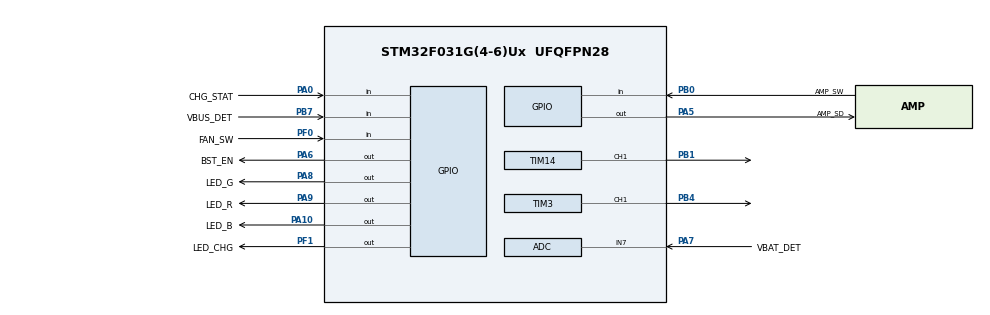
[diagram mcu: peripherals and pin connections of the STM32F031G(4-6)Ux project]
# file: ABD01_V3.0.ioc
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ADC.ClockPrescaler=ADC_CLOCK_SYNC_PCLK_DIV4
Mcu.Family=STM32F0
Mcu.Name=STM32F031G(4-6)Ux
Mcu.Package=UFQFPN28
PA0.GPIO_Label=CHG_STAT
PA0.GPIO_PuPd=GPIO_PULLUP
PA0.Signal=GPIO_Input
PA10.GPIO_Label=LED_B
PA10.Signal=GPIO_Output
PA13.Mode=Serial_Wire
PA13.Signal=SYS_SWDIO
PA14.Mode=Serial_Wire
PA14.Signal=SYS_SWCLK
PA5.GPIO_Label=AMP_SD
PA5.GPIO_PuPd=GPIO_NOPULL
PA5.PinState=GPIO_PIN_SET
PA5.Signal=GPIO_Output
PA6.GPIO_Label=BST_EN
PA6.Signal=GPIO_Output
PA7.GPIO_Label=VBAT_DET
PA7.Mode=IN7
PA7.Signal=ADC_IN7
PA8.GPIO_Label=LED_G
PA8.Signal=GPIO_Output
PA9.GPIO_Label=LED_R
PA9.Signal=GPIO_Output
PB0.GPIO_Label=AMP_SW
PB0.GPIO_PuPd=GPIO_PULLUP
PB0.Signal=GPIO_Input
PB1.Signal=S_TIM14_CH1
PB4.Signal=S_TIM3_CH1
PB7.GPIO_Label=VBUS_DET
PB7.Signal=GPIO_Input
PF0-OSC_IN.GPIO_Label=FAN_SW
PF0-OSC_IN.Signal=GPIO_Input
PF1-OSC_OUT.GPIO_Label=LED_CHG
PF1-OSC_OUT.Signal=GPIO_Output
ProjectManager.HeapSize=0x200
ProjectManager.StackSize=0x400
ProjectManager.TargetToolchain=STM32CubeIDE
RCC.AHBFreq_Value=8000000
RCC.APB1Freq_Value=8000000
RCC.APB1TimFreq_Value=8000000
RCC.HCLKFreq_Value=8000000
SH.S_TIM14_CH1.0=TIM14_CH1,PWM Generation1 CH1
SH.S_TIM3_CH1.0=TIM3_CH1,PWM Generation1 CH1
TIM14.Channel=TIM_CHANNEL_1
TIM14.Period=99
TIM14.Prescaler=3
TIM3.Channel-PWM\ Generation1\ CH1=TIM_CHANNEL_1
TIM3.Period=251
TIM3.Prescaler=9
TIM3.Pulse-PWM\ Generation1\ CH1=125
VP_TIM14_VS_ClockSourceINT.Mode=Enable_Timer
VP_TIM3_VS_ClockSourceINT.Mode=Internal
board=custom

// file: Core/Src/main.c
/* USER CODE BEGIN Header */

/* USER CODE END Header */
#include "main.h"

/* USER CODE BEGIN Includes */
#include <stdbool.h>
/* USER CODE END Includes */

/* USER CODE BEGIN PD */
typedef enum eLedStatus
{
    led_off = GPIO_PIN_SET,
    led_on = GPIO_PIN_RESET
} eLedStatus_t;
typedef enum eLedColor
{
    color_none = 0,      // LED All OFF
    color_red,      // LED Color Red
    color_green,    // LED Color Green
    color_blue,     // LED Color Blue
    color_yellow,   // LED Color Yellow
    color_magenta,  // LED Color Magenta
    color_cyan,     // LED Color Cyan
    color_white     // LED Color White
} eLedColor_t;

typedef enum eBuzMode
{
    buzz_off,
    buzz_on,
    buzz_long,
    buzz_short
} eBuzMode_t;

#define low_vol     2048
#define ampOn  GPIO_PIN_SET
#define ampOff GPIO_PIN_RESET
/* USER CODE END PD */

ADC_HandleTypeDef hadc;

TIM_HandleTypeDef htim3;
TIM_HandleTypeDef htim14;

/* USER CODE BEGIN PV */
uint8_t ampModeCount = 0;
uint8_t voltIn = 0;
uint8_t chgStat = 1;

/* USER CODE END PV */

void SystemClock_Config(void);
static void MX_GPIO_Init(void);
static void MX_TIM3_Init(void);
static void MX_TIM14_Init(void);
static void MX_ADC_Init(void);
/* USER CODE BEGIN PFP */
void pwmDutySet(const int duty);
void buzzerControl(const eBuzMode_t mdoe, const int count);
uint32_t adcRead(void);
void ledColor(eLedColor_t ledColor);
void ledControl(eLedStatus_t led_r, eLedStatus_t led_g, eLedStatus_t led_b);
void boostEnable(GPIO_PinState bstStatus);

void deviceInit(void);
void readSwitchStatus(int	* const status_count,
                      bool	* const mode_change,
                      int	* const befor_mode);
void ampControl(const int status);
void chargeDetect(void);
void fanControl(int     * const status,
                bool	* const mode_status,
                bool	bat_status);

/* USER CODE END PFP */

/* USER CODE BEGIN 0 */

/* Driver *****************************************************************************/
// PWM Duty Set
void pwmDutySet(const int duty)
{
    if((duty >= 0) && (duty <= 100))
    {
        if((duty == 0) || (duty == 100))
        {
            TIM14->CCR1 = ((100 / 100) * duty);
        }
        else
        {
            TIM14->CCR1 = ((100 / 100) * duty) - 1;
        }
    }
    else
    {
        TIM14->CCR1 = 0;
    }
}

// Buzzer Control
void buzzerControl(const eBuzMode_t mode, const int count)
{
    switch(mode)
    {
        case buzz_off: TIM3->CCR1 = 0; break;
        case buzz_on: TIM3->CCR1 = 125; break;
        case buzz_long:
            for(int idx = 0; idx < count; idx++)
            {
                TIM3->CCR1 = 125;
                HAL_Delay(1500);
                TIM3->CCR1 = 0;
                HAL_Delay(10);
            }

            break;
        case buzz_short:
            for(int idx = 0; idx < count; idx++)
            {
                TIM3->CCR1 = 125;
                HAL_Delay(300);
                TIM3->CCR1 = 0;
                HAL_Delay(100);
            }
            break;
        default: TIM3->CCR1 = 0; break;
    }
}

// ADC Read
uint32_t adcRead(void)
{
    uint32_t value;

    HAL_ADC_Start(&hadc);
    HAL_ADC_PollForConversion(&hadc, HAL_MAX_DELAY);
    HAL_Delay(100);
    value = HAL_ADC_GetValue(&hadc);

    return value;
}

// LED Color Set
void ledColor(eLedColor_t ledColor)
{
    switch(ledColor)
    {
        case color_none:
            ledControl(led_off, led_off, led_off); break;
        case color_red:
            ledControl(led_on, led_off, led_off); break;
        case color_green:
            ledControl(led_off, led_on, led_off); break;
        case color_blue:
            ledControl(led_off, led_off, led_on); break;
        case color_yellow:
            ledControl(led_on, led_on, led_off); break;
        case color_magenta:
            ledControl(led_on, led_off, led_on); break;
        case color_cyan:
            ledControl(led_off, led_on, led_on); break;
        case color_white:
            ledControl(led_on, led_on, led_on); break;
        default:
            ledControl(led_off, led_off, led_off); break;
    }
}

// LED Control
void ledControl(eLedStatus_t led_r, eLedStatus_t led_g, eLedStatus_t led_b)
{
    HAL_GPIO_WritePin(LED_R_GPIO_Port, LED_R_Pin, led_r);
    HAL_GPIO_WritePin(LED_G_GPIO_Port, LED_G_Pin, led_g);
    HAL_GPIO_WritePin(LED_B_GPIO_Port, LED_B_Pin, led_b);
}

void boostEnable(GPIO_PinState bstStatus)
{
    HAL_GPIO_WritePin(BST_EN_GPIO_Port, BST_EN_Pin, bstStatus);
}
/**************************************************************************************/

/* Application ************************************************************************/
// LED ROTATE 100ms
void deviceInit(void)
{
    // GPIO ALL OFF
    HAL_GPIO_WritePin(AMP_SD_GPIO_Port, AMP_SD_Pin, GPIO_PIN_RESET); //AMP OFF
    HAL_GPIO_WritePin(BST_EN_GPIO_Port, BST_EN_Pin, GPIO_PIN_RESET); // BOOSTER OFF
    HAL_GPIO_WritePin(LED_CHG_GPIO_Port, LED_CHG_Pin, GPIO_PIN_RESET); // CHG LED OFF

    // PWM START
    HAL_TIM_PWM_Start(&htim3,TIM_CHANNEL_1);    // Buzzer PWM
    HAL_TIM_PWM_Start(&htim14, TIM_CHANNEL_1);	// FAN PWM

    // PWM Init
    pwmDutySet(0);
    buzzerControl(buzz_off, 0);

    // ADC START
    HAL_ADC_Start(&hadc);
    HAL_ADC_PollForConversion(&hadc, 10);

    // LED Initial
    // RED
    ledColor(color_red);
    HAL_Delay(250);
    // GRN
    ledColor(color_green);
    HAL_Delay(250);
    // BLU
    ledColor(color_blue);
    HAL_Delay(250);
    // YEL
    ledColor(color_yellow);
    HAL_Delay(250);
    // MAGENTA
    ledColor(color_magenta);
    HAL_Delay(250);
    // CYAN
    ledColor(color_cyan);
    HAL_Delay(250);
    // WHT
    ledColor(color_white);
    HAL_Delay(250);
    // LED ALL OFF
    ledColor(color_none);
}

void readSwitchStatus(int	* const status_count,
                      bool	* const mode_change,
                      int	* const befor_mode)
{
    int time_count = 0;

    // Status Count doc
    // status_count = 0 : System Standby Mode   (FAN OFF, )
    // status_count = 1 : System Active Mode    (FAN 0%, )
    // sratus_count = 2 : System Active Mode    (FAN 65%, )
    // sratus_count = 3 : System Active Mode    (FAN 80%, )
    // sratus_count = 4 : System Active Mode    (FAN 100%, )

    // Switch Detect
    if(HAL_GPIO_ReadPin(FAN_SW_GPIO_Port, FAN_SW_Pin) == 0)
    {
        // Switch Detect Time Count
        while(HAL_GPIO_ReadPin(FAN_SW_GPIO_Port, FAN_SW_Pin) == 0)
        {
            time_count++;
            HAL_Delay(100);
        }
    }

    // Switch Detect Time Check
    // System Mode Cheange Detect
    if(time_count >= 15)
    {
        // if System StandBy Status
        if(*status_count == 0)
        {
            *status_count = 1; // Mode Change
        }
            // System Active Status
        else
        {
            *status_count = 0; // Mode Change
        }
    }
        // System Status Cheange Detect
    else if((time_count < 20) && (time_count > 0) && (*status_count > 0))
    {
        if(*status_count >= 4)
        {
            *status_count = 2;
        }
        else
        {
            *status_count+=1;
        }
    }
        // Nothing
    else
    {
        /* none */
    }

    if(*befor_mode != *status_count)
    {
        *mode_change = true;
        *befor_mode = *status_count;
    }
}

// FAN Control
void fanControl(int     * const status,
                bool	* const mode_status,
                bool	bat_status)
{
    switch (*status)
    {
        case 0: // Device Off
            if(bat_status == true) ledColor(color_none);
            boostEnable(GPIO_PIN_RESET);
            HAL_GPIO_WritePin(AMP_SD_GPIO_Port, AMP_SD_Pin, GPIO_PIN_RESET);
            pwmDutySet(0);
            if(*mode_status == true)
            {
                buzzerControl(buzz_long, 1);
                *mode_status = false;
            }
            break;
        case 1: // Device Start
            if(bat_status == true) ledColor(color_green);
            if(*mode_status == true)
            {
                buzzerControl(buzz_long, 1);
                *mode_status = false;
            }
            *status+=1;
            break;
        case 2: // PWM 30%
            if(bat_status == true) ledColor(color_green);
            boostEnable(GPIO_PIN_SET);
            HAL_GPIO_WritePin(AMP_SD_GPIO_Port, AMP_SD_Pin, GPIO_PIN_SET);
            pwmDutySet(10);
//            pwmDutySet(45);
            if(*mode_status == true)
            {
                buzzerControl(buzz_short, 1);
                *mode_status = false;
            }
            break;
        case 3: // PWM 50%
            if(bat_status == true) ledColor(color_green);
            boostEnable(GPIO_PIN_SET);
            HAL_GPIO_WritePin(AMP_SD_GPIO_Port, AMP_SD_Pin, GPIO_PIN_SET);
            pwmDutySet(20);
//            pwmDutySet(65);
            if(*mode_status == true)
            {
                buzzerControl(buzz_short, 2);
                *mode_status = false;
            }
            break;
        case 4: // PWM 80%
            if(bat_status == true) ledColor(color_green);
            boostEnable(GPIO_PIN_SET);
            HAL_GPIO_WritePin(AMP_SD_GPIO_Port, AMP_SD_Pin, GPIO_PIN_SET);
            pwmDutySet(30);
//            pwmDutySet(85);
            if(*mode_status == true)
            {
                buzzerControl(buzz_short, 3);
                *mode_status = false;
            }
            break;
    }
}

// Amp Control
void ampControl(const int status)
{
    if ((status == 0) || (status == 1))
    {
        HAL_GPIO_WritePin(AMP_SD_GPIO_Port, AMP_SD_Pin, ampOff);
        ampModeCount = 0;
    }
    else if (status > 1)
    {
        if (HAL_GPIO_ReadPin(AMP_SW_GPIO_Port, AMP_SW_Pin) == 0)
        {
            while (HAL_GPIO_ReadPin(AMP_SW_GPIO_Port, AMP_SW_Pin) == 0);
            ampModeCount++;
            if (ampModeCount >= 2) ampModeCount = 0;
        }

        switch (ampModeCount)
        {
            case 0:
                HAL_GPIO_WritePin(AMP_SD_GPIO_Port, AMP_SD_Pin, ampOff);
                break;

            case 1:
                HAL_GPIO_WritePin(AMP_SD_GPIO_Port, AMP_SD_Pin, ampOn);
                break;
        }
    }
    else
    {
        HAL_GPIO_WritePin(AMP_SD_GPIO_Port, AMP_SD_Pin, ampOff);
        ampModeCount = 0;
    }
}

// Charge Detect
void chargeDetect(void)
{
    voltIn = HAL_GPIO_ReadPin(VBUS_DET_GPIO_Port, VBUS_DET_Pin);
    chgStat = HAL_GPIO_ReadPin(CHG_STAT_GPIO_Port, CHG_STAT_Pin);

    if(voltIn == 1)
    {
        if (chgStat == 0)
        {
            HAL_GPIO_WritePin(LED_CHG_GPIO_Port, LED_CHG_Pin, GPIO_PIN_SET);
        } else
        {
            HAL_GPIO_WritePin(LED_CHG_GPIO_Port, LED_CHG_Pin, GPIO_PIN_RESET);
        }
    }
    else
    {
        HAL_GPIO_WritePin(LED_CHG_GPIO_Port,LED_CHG_Pin,GPIO_PIN_RESET);
    }
}
/**************************************************************************************/

/* USER CODE END 0 */

int main(void)
{
    /* USER CODE BEGIN 1 */

    int system_status = 0; // System Status Variable
    bool mode_status = false;
    int befor_mode = 0;
    int adc_read_count = 0;
    bool bat_status = true; // true: normal, false: low Bat
    /* USER CODE END 1 */

    /* MCU Configuration--------------------------------------------------------*/

    /* Reset of all peripherals, Initializes the Flash interface and the Systick. */
    HAL_Init();

    /* Configure the system clock */
    SystemClock_Config();

    /* Initialize all configured peripherals */
    MX_GPIO_Init();
    MX_TIM3_Init();
    MX_TIM14_Init();
    MX_ADC_Init();
    /* USER CODE BEGIN 2 */

    deviceInit(); // Device Initial
    HAL_Delay(50);

    /* USER CODE END 2 */

    /* Infinite loop */
    while (1)
    {

        /* USER CODE BEGIN 3 */
        chargeDetect();
        adc_read_count++;
        if(adc_read_count >= 5000)
        {
            if(adcRead() < low_vol)
            {
                bat_status = false;
                ledColor(color_magenta);
            }
            else bat_status = true;
            adc_read_count = 0;
        }
        readSwitchStatus(&system_status,
                         &mode_status,
                         &befor_mode);
        fanControl(&system_status, &mode_status, bat_status);
        ampControl(&system_status);
        boostEnable(GPIO_PIN_SET);
        HAL_Delay(1);
    }

    /* USER CODE END 3 */
}

void SystemClock_Config(void)
{
    RCC_OscInitTypeDef RCC_OscInitStruct = {0};
    RCC_ClkInitTypeDef RCC_ClkInitStruct = {0};

    /** Initializes the RCC Oscillators according to the specified parameters
    * in the RCC_OscInitTypeDef structure.
    */
    RCC_OscInitStruct.OscillatorType = RCC_OSCILLATORTYPE_HSI;
    RCC_OscInitStruct.HSIState = RCC_HSI_ON;
    RCC_OscInitStruct.HSICalibrationValue = RCC_HSICALIBRATION_DEFAULT;
    RCC_OscInitStruct.PLL.PLLState = RCC_PLL_NONE;
    if (HAL_RCC_OscConfig(&RCC_OscInitStruct) != HAL_OK)
    {
        Error_Handler();
    }

    /** Initializes the CPU, AHB and APB buses clocks
    */
    RCC_ClkInitStruct.ClockType = RCC_CLOCKTYPE_HCLK|RCC_CLOCKTYPE_SYSCLK
                                  |RCC_CLOCKTYPE_PCLK1;
    RCC_ClkInitStruct.SYSCLKSource = RCC_SYSCLKSOURCE_HSI;
    RCC_ClkInitStruct.AHBCLKDivider = RCC_SYSCLK_DIV1;
    RCC_ClkInitStruct.APB1CLKDivider = RCC_HCLK_DIV1;

    if (HAL_RCC_ClockConfig(&RCC_ClkInitStruct, FLASH_LATENCY_0) != HAL_OK)
    {
        Error_Handler();
    }
}

static void MX_ADC_Init(void)
{

    ADC_ChannelConfTypeDef sConfig = {0};

    /** Configure the global features of the ADC (Clock, Resolution, Data Alignment and number of conversion)
    */
    hadc.Instance = ADC1;
    hadc.Init.ClockPrescaler = ADC_CLOCK_SYNC_PCLK_DIV4;
    hadc.Init.Resolution = ADC_RESOLUTION_12B;
    hadc.Init.DataAlign = ADC_DATAALIGN_RIGHT;
    hadc.Init.ScanConvMode = ADC_SCAN_DIRECTION_FORWARD;
    hadc.Init.EOCSelection = ADC_EOC_SINGLE_CONV;
    hadc.Init.LowPowerAutoWait = DISABLE;
    hadc.Init.LowPowerAutoPowerOff = DISABLE;
    hadc.Init.ContinuousConvMode = DISABLE;
    hadc.Init.DiscontinuousConvMode = DISABLE;
    hadc.Init.ExternalTrigConv = ADC_SOFTWARE_START;
    hadc.Init.ExternalTrigConvEdge = ADC_EXTERNALTRIGCONVEDGE_NONE;
    hadc.Init.DMAContinuousRequests = DISABLE;
    hadc.Init.Overrun = ADC_OVR_DATA_PRESERVED;
    if (HAL_ADC_Init(&hadc) != HAL_OK)
    {
        Error_Handler();
    }

    /** Configure for the selected ADC regular channel to be converted.
    */
    sConfig.Channel = ADC_CHANNEL_7;
    sConfig.Rank = ADC_RANK_CHANNEL_NUMBER;
    sConfig.SamplingTime = ADC_SAMPLETIME_1CYCLE_5;
    if (HAL_ADC_ConfigChannel(&hadc, &sConfig) != HAL_OK)
    {
        Error_Handler();
    }

}

static void MX_TIM3_Init(void)
{

    TIM_ClockConfigTypeDef sClockSourceConfig = {0};
    TIM_MasterConfigTypeDef sMasterConfig = {0};
    TIM_OC_InitTypeDef sConfigOC = {0};

    htim3.Instance = TIM3;
    htim3.Init.Prescaler = 9;
    htim3.Init.CounterMode = TIM_COUNTERMODE_UP;
    htim3.Init.Period = 251;
    htim3.Init.ClockDivision = TIM_CLOCKDIVISION_DIV1;
    htim3.Init.AutoReloadPreload = TIM_AUTORELOAD_PRELOAD_DISABLE;
    if (HAL_TIM_Base_Init(&htim3) != HAL_OK)
    {
        Error_Handler();
    }
    sClockSourceConfig.ClockSource = TIM_CLOCKSOURCE_INTERNAL;
    if (HAL_TIM_ConfigClockSource(&htim3, &sClockSourceConfig) != HAL_OK)
    {
        Error_Handler();
    }
    if (HAL_TIM_PWM_Init(&htim3) != HAL_OK)
    {
        Error_Handler();
    }
    sMasterConfig.MasterOutputTrigger = TIM_TRGO_RESET;
    sMasterConfig.MasterSlaveMode = TIM_MASTERSLAVEMODE_DISABLE;
    if (HAL_TIMEx_MasterConfigSynchronization(&htim3, &sMasterConfig) != HAL_OK)
    {
        Error_Handler();
    }
    sConfigOC.OCMode = TIM_OCMODE_PWM1;
    sConfigOC.Pulse = 125;
    sConfigOC.OCPolarity = TIM_OCPOLARITY_HIGH;
    sConfigOC.OCFastMode = TIM_OCFAST_DISABLE;
    if (HAL_TIM_PWM_ConfigChannel(&htim3, &sConfigOC, TIM_CHANNEL_1) != HAL_OK)
    {
        Error_Handler();
    }
    HAL_TIM_MspPostInit(&htim3);

}

static void MX_TIM14_Init(void)
{

    TIM_OC_InitTypeDef sConfigOC = {0};

    htim14.Instance = TIM14;
    htim14.Init.Prescaler = 3;
    htim14.Init.CounterMode = TIM_COUNTERMODE_UP;
    htim14.Init.Period = 99;
    htim14.Init.ClockDivision = TIM_CLOCKDIVISION_DIV1;
    htim14.Init.AutoReloadPreload = TIM_AUTORELOAD_PRELOAD_DISABLE;
    if (HAL_TIM_Base_Init(&htim14) != HAL_OK)
    {
        Error_Handler();
    }
    if (HAL_TIM_PWM_Init(&htim14) != HAL_OK)
    {
        Error_Handler();
    }
    sConfigOC.OCMode = TIM_OCMODE_PWM1;
    sConfigOC.Pulse = 0;
    sConfigOC.OCPolarity = TIM_OCPOLARITY_HIGH;
    sConfigOC.OCFastMode = TIM_OCFAST_DISABLE;
    if (HAL_TIM_PWM_ConfigChannel(&htim14, &sConfigOC, TIM_CHANNEL_1) != HAL_OK)
    {
        Error_Handler();
    }
    HAL_TIM_MspPostInit(&htim14);

}

static void MX_GPIO_Init(void)
{
    GPIO_InitTypeDef GPIO_InitStruct = {0};

    /* GPIO Ports Clock Enable */
    __HAL_RCC_GPIOF_CLK_ENABLE();
    __HAL_RCC_GPIOA_CLK_ENABLE();
    __HAL_RCC_GPIOB_CLK_ENABLE();

    /*Configure GPIO pin Output Level */
    HAL_GPIO_WritePin(LED_CHG_GPIO_Port, LED_CHG_Pin, GPIO_PIN_RESET);

    /*Configure GPIO pin Output Level */
    HAL_GPIO_WritePin(AMP_SD_GPIO_Port, AMP_SD_Pin, GPIO_PIN_SET);

    /*Configure GPIO pin Output Level */
    HAL_GPIO_WritePin(GPIOA, BST_EN_Pin|LED_G_Pin|LED_R_Pin|LED_B_Pin, GPIO_PIN_RESET);

    /*Configure GPIO pin : FAN_SW_Pin */
    GPIO_InitStruct.Pin = FAN_SW_Pin;
    GPIO_InitStruct.Mode = GPIO_MODE_INPUT;
    GPIO_InitStruct.Pull = GPIO_NOPULL;
    HAL_GPIO_Init(FAN_SW_GPIO_Port, &GPIO_InitStruct);

    /*Configure GPIO pin : LED_CHG_Pin */
    GPIO_InitStruct.Pin = LED_CHG_Pin;
    GPIO_InitStruct.Mode = GPIO_MODE_OUTPUT_PP;
    GPIO_InitStruct.Pull = GPIO_NOPULL;
    GPIO_InitStruct.Speed = GPIO_SPEED_FREQ_LOW;
    HAL_GPIO_Init(LED_CHG_GPIO_Port, &GPIO_InitStruct);

    /*Configure GPIO pin : CHG_STAT_Pin */
    GPIO_InitStruct.Pin = CHG_STAT_Pin;
    GPIO_InitStruct.Mode = GPIO_MODE_INPUT;
    GPIO_InitStruct.Pull = GPIO_PULLUP;
    HAL_GPIO_Init(CHG_STAT_GPIO_Port, &GPIO_InitStruct);

    /*Configure GPIO pins : AMP_SD_Pin BST_EN_Pin LED_G_Pin LED_R_Pin
                             LED_B_Pin */
    GPIO_InitStruct.Pin = AMP_SD_Pin|BST_EN_Pin|LED_G_Pin|LED_R_Pin
                          |LED_B_Pin;
    GPIO_InitStruct.Mode = GPIO_MODE_OUTPUT_PP;
    GPIO_InitStruct.Pull = GPIO_NOPULL;
    GPIO_InitStruct.Speed = GPIO_SPEED_FREQ_LOW;
    HAL_GPIO_Init(GPIOA, &GPIO_InitStruct);

    /*Configure GPIO pin : AMP_SW_Pin */
    GPIO_InitStruct.Pin = AMP_SW_Pin;
    GPIO_InitStruct.Mode = GPIO_MODE_INPUT;
    GPIO_InitStruct.Pull = GPIO_PULLUP;
    HAL_GPIO_Init(AMP_SW_GPIO_Port, &GPIO_InitStruct);

    /*Configure GPIO pin : VBUS_DET_Pin */
    GPIO_InitStruct.Pin = VBUS_DET_Pin;
    GPIO_InitStruct.Mode = GPIO_MODE_INPUT;
    GPIO_InitStruct.Pull = GPIO_NOPULL;
    HAL_GPIO_Init(VBUS_DET_GPIO_Port, &GPIO_InitStruct);

}

void Error_Handler(void)
{
    __disable_irq();
    while (1)
    {
    }
}
